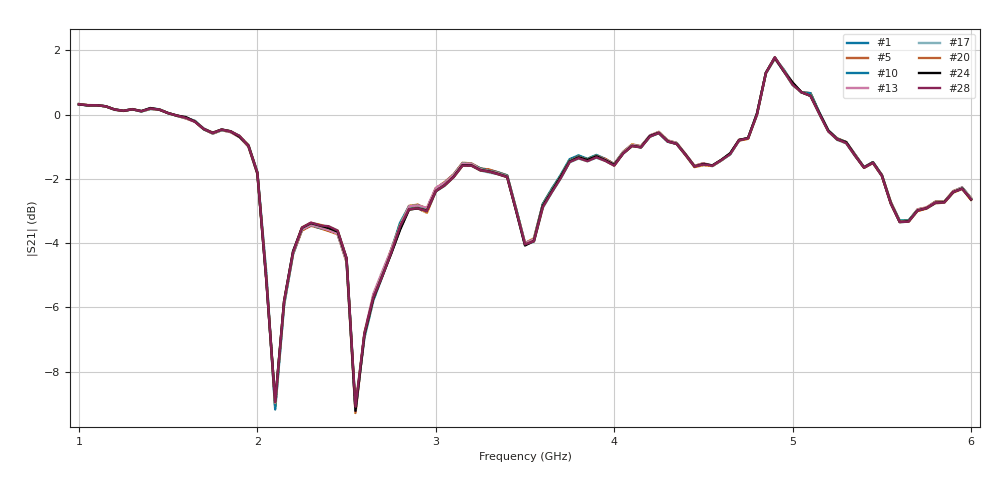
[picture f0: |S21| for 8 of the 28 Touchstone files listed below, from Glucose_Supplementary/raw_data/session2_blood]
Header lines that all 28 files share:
! NanoVNA-App
! Start: 1GHz Stop: 6GHz Points: 101
! S-Parameter data: F S11 S21 S12 S22
# Hz S RI R 50
!	Frequency	S11_Real	S11_Imag	S21_Real	S21_Imag	S12_Real	S12_Imag	S22_Real	S22_Imag
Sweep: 1 GHz to 6 GHz
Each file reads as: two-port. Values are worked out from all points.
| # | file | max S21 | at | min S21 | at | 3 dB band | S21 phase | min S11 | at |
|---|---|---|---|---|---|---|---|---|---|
| 1 | Blood Glu125 3.s2p | 1.77 dB | 4.9 GHz | -9.2 dB | 2.1 GHz | 1 GHz-1.95 GHz | 154 deg at 3.5 GHz | -31.2 dB | 3.8 GHz |
| 2 | Blood Glu145 1 temp 25.1 deg.s2p | 1.78 dB | 4.9 GHz | -9.3 dB | 2.55 GHz | 1 GHz-1.95 GHz | 154 deg at 3.5 GHz | -30.9 dB | 3.8 GHz |
| 3 | Blood Glu145 2.s2p | 1.77 dB | 4.9 GHz | -9.3 dB | 2.55 GHz | 1 GHz-1.95 GHz | 154 deg at 3.5 GHz | -31.0 dB | 3.8 GHz |
| 4 | Blood Glu145 3.s2p | 1.77 dB | 4.9 GHz | -9.3 dB | 2.55 GHz | 1 GHz-1.95 GHz | 154 deg at 3.5 GHz | -31.0 dB | 3.8 GHz |
| 5 | Blood Glu165 1 temp 25.0 deg.s2p | 1.78 dB | 4.9 GHz | -9.3 dB | 2.55 GHz | 1 GHz-1.95 GHz | 154 deg at 3.5 GHz | -30.9 dB | 1.45 GHz |
| 6 | Blood Glu165 2.s2p | 1.77 dB | 4.9 GHz | -9.3 dB | 2.55 GHz | 1 GHz-1.95 GHz | 154 deg at 3.5 GHz | -30.9 dB | 1.45 GHz |
| 7 | Blood Glu165 3.s2p | 1.78 dB | 4.9 GHz | -9.3 dB | 2.55 GHz | 1 GHz-1.95 GHz | 154 deg at 3.5 GHz | -30.9 dB | 1.45 GHz |
| 8 | Blood Glu185 1 temp 25.1 deg.s2p | 1.80 dB | 4.9 GHz | -9.2 dB | 2.55 GHz | 1 GHz-1.95 GHz | 153 deg at 3.5 GHz | -31.1 dB | 3.8 GHz |
| 9 | Blood Glu185 2.s2p | 1.79 dB | 4.9 GHz | -9.2 dB | 2.55 GHz | 1 GHz-1.95 GHz | 153 deg at 3.5 GHz | -31.0 dB | 3.8 GHz |
| 10 | Blood Glu185 3.s2p | 1.78 dB | 4.9 GHz | -9.2 dB | 2.55 GHz | 1 GHz-1.95 GHz | 153 deg at 3.5 GHz | -31.0 dB | 3.8 GHz |
| 11 | Blood Glu200 1 temp 25.0 deg.s2p | 1.78 dB | 4.9 GHz | -9.2 dB | 2.55 GHz | 1 GHz-1.95 GHz | 154 deg at 3.5 GHz | -30.9 dB | 1.45 GHz |
| 12 | Blood Glu200 2.s2p | 1.78 dB | 4.9 GHz | -9.2 dB | 2.55 GHz | 1 GHz-1.95 GHz | 153 deg at 3.5 GHz | -30.8 dB | 1.45 GHz |
| 13 | Blood Glu200 3.s2p | 1.78 dB | 4.9 GHz | -9.2 dB | 2.55 GHz | 1 GHz-1.95 GHz | 153 deg at 3.5 GHz | -30.9 dB | 1.45 GHz |
| 14 | Blood Glu220 1 temp 24.8 deg.s2p | 1.74 dB | 4.9 GHz | -9.2 dB | 2.55 GHz | 1 GHz-1.95 GHz | 153 deg at 3.5 GHz | -30.8 dB | 3.8 GHz |
| 15 | Blood Glu220 2.s2p | 1.77 dB | 4.9 GHz | -9.2 dB | 2.55 GHz | 1 GHz-1.95 GHz | 153 deg at 3.5 GHz | -30.8 dB | 3.8 GHz |
| 16 | Blood Glu220 3.s2p | 1.78 dB | 4.9 GHz | -9.2 dB | 2.55 GHz | 1 GHz-1.95 GHz | 153 deg at 3.5 GHz | -30.7 dB | 3.8 GHz |
| 17 | Blood Glu240 1 temp 25.0 deg.s2p | 1.74 dB | 4.9 GHz | -9.2 dB | 2.55 GHz | 1 GHz-1.95 GHz | 153 deg at 3.5 GHz | -30.6 dB | 1.45 GHz |
| 18 | Blood Glu240 2.s2p | 1.78 dB | 4.9 GHz | -9.1 dB | 2.55 GHz | 1 GHz-1.95 GHz | 153 deg at 3.5 GHz | -30.7 dB | 1.45 GHz |
| 19 | Blood Glu240 3.s2p | 1.78 dB | 4.9 GHz | -9.1 dB | 2.55 GHz | 1 GHz-1.95 GHz | 153 deg at 3.5 GHz | -30.6 dB | 1.45 GHz |
| 20 | Blood Glu260 1 temp 24.9 deg.s2p | 1.74 dB | 4.9 GHz | -9.1 dB | 2.55 GHz | 1 GHz-1.95 GHz | 153 deg at 3.5 GHz | -30.6 dB | 3.8 GHz |
| 21 | Blood Glu260 2.s2p | 1.73 dB | 4.9 GHz | -9.1 dB | 2.55 GHz | 1 GHz-1.95 GHz | 153 deg at 3.5 GHz | -30.6 dB | 3.8 GHz |
| 22 | Blood Glu260 3.s2p | 1.73 dB | 4.9 GHz | -9.1 dB | 2.55 GHz | 1 GHz-1.95 GHz | 153 deg at 3.5 GHz | -30.7 dB | 3.8 GHz |
| 23 | Blood Glu280 1 temp 25.2 deg.s2p | 1.78 dB | 4.9 GHz | -9.2 dB | 2.55 GHz | 1 GHz-1.95 GHz | 154 deg at 3.5 GHz | -30.7 dB | 3.8 GHz |
| 24 | Blood Glu280 2.s2p | 1.77 dB | 4.9 GHz | -9.2 dB | 2.55 GHz | 1 GHz-1.95 GHz | 154 deg at 3.5 GHz | -30.6 dB | 1.45 GHz |
| 25 | Blood Glu280 3.s2p | 1.77 dB | 4.9 GHz | -9.2 dB | 2.55 GHz | 1 GHz-1.95 GHz | 154 deg at 3.5 GHz | -30.7 dB | 1.45 GHz |
| 26 | Blood Glu300 1 temp 25.1 deg.s2p | 1.78 dB | 4.9 GHz | -9.1 dB | 2.55 GHz | 1 GHz-1.95 GHz | 153 deg at 3.5 GHz | -30.8 dB | 3.8 GHz |
| 27 | Blood Glu300 2.s2p | 1.73 dB | 4.9 GHz | -9.1 dB | 2.55 GHz | 1 GHz-1.95 GHz | 153 deg at 3.5 GHz | -30.7 dB | 1.45 GHz |
| 28 | Blood Glu300 3.s2p | 1.79 dB | 4.9 GHz | -9.1 dB | 2.55 GHz | 1 GHz-1.95 GHz | 153 deg at 3.5 GHz | -30.6 dB | 1.45 GHz |
